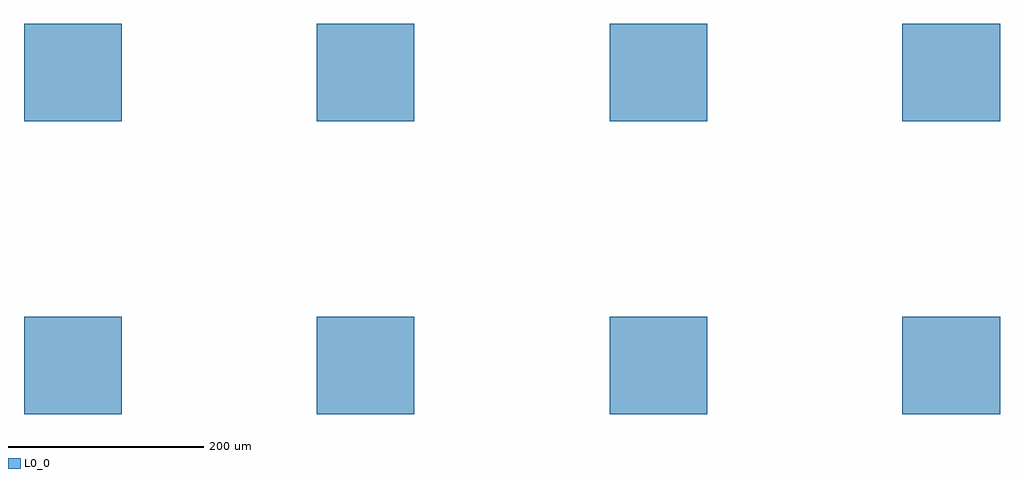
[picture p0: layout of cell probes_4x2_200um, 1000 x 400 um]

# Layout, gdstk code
import gdstk
lib = gdstk.Library(unit=1e-6, precision=1e-09)
def R(c, l, rs):  # rectangles x0, y0, x1, y1
    for r in rs: c.add(gdstk.rectangle(r[:2], r[2:], *l))
def A(c, l, x, y, w, h, nx, ny, dx, dy):  # array of equal rectangles
    R(c, l, [(x+i*dx, y+j*dy, x+i*dx+w, y+j*dy+h) for i in range(nx) for j in range(ny)])
L0_0 = (0, 0)

probes_4x2_200um = lib.new_cell('probes_4x2_200um')
A(probes_4x2_200um, L0_0, -500, -200, 100, 100, 4, 2, 300, 300)

lib.write_gds('probes_4x2_200um.gds')
